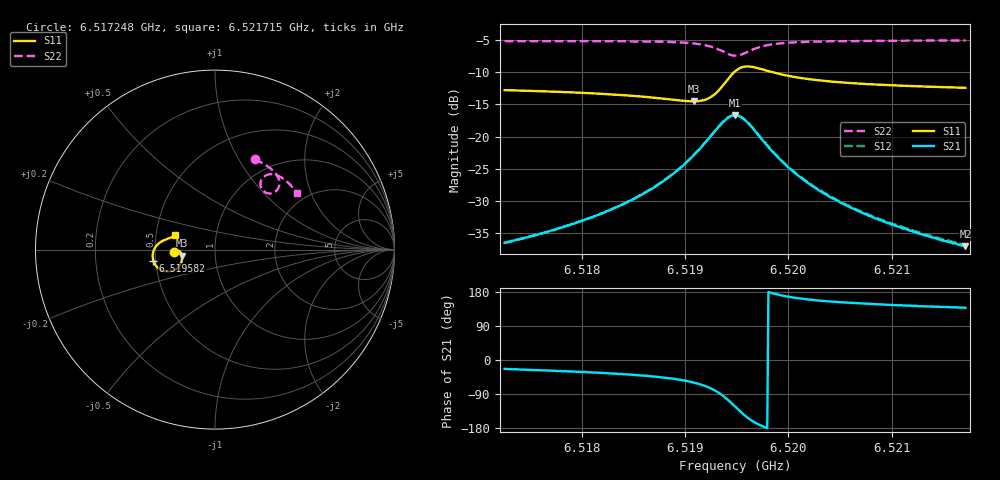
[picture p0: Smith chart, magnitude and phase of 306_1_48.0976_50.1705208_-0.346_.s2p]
#  HZ  S  RI  R  50.00
! Rohde & Schwarz Vector Network Analyzer
! Rohde-Schwarz,ZNB20-2Port,1311601062101988,3.16
! Created: UTC 12/23/2023, 4:05:16 AM
! freq[Hz]  re:S11  im:S11  re:S21  im:S21  re:S12  im:S12  re:S22  im:S22
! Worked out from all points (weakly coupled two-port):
!   401 points, 6.517248 GHz to 6.521715 GHz, reference 50 ohm
!   highest |S21| = -16.71 dB at 6.519481 GHz (marker M1); lowest = -37.0 dB at 6.521715 GHz (marker M2)
!   lowest |S11| = -14.5 dB at 6.519079 GHz (marker M3), VSWR 1.46, Z = 34.4 - j2.47 ohm
!   |S11| at or under -10 dB: start of sweep to 6.519475 GHz; 6.519841 GHz to end of sweep
!   |S22| runs from -7.5 to -5.1 dB; largest |S21 - S12| = 0.0045
!   S11 on the Smith chart (normalised r, x): 6.517248 GHz: 0.63, -0.02; 6.519582 GHz: 0.49, -0.07; 6.521715 GHz: 0.63, +0.11
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6.5172475e9  -0.2288 -0.0116  0.0138 -0.00598  0.014 -0.00558  0.2209 0.5023
6.5176273e9  -0.2241 -0.00634  0.0159 -0.00818  0.0161 -0.00777  0.2488 0.4894
6.5179959e9  -0.2183 -0.00252  0.019 -0.0117  0.0193 -0.0111  0.276 0.4745
6.5184092e9  -0.2093 -0.00162  0.0239 -0.0185  0.0247 -0.0179  0.3071 0.4536
6.5187443e9  -0.1982 -0.00736  0.0302 -0.0302  0.0314 -0.0295  0.3331 0.4298
6.5189118e9  -0.1912 -0.0162  0.0339 -0.0415  0.0355 -0.0407  0.3461 0.4128
6.5190794e9  -0.1843 -0.0347  0.0363 -0.0614  0.0384 -0.0607  0.3571 0.3881
6.5191911e9  -0.1843 -0.0575  0.0325 -0.083  0.0353 -0.0827  0.3592 0.3639
6.5192693e9  -0.1921 -0.0803  0.0221 -0.1038  0.0253 -0.1037  0.3531 0.343
6.5193921e9  -0.2377 -0.1183  -0.0244 -0.1332  -0.0207 -0.1351  0.3169 0.314
6.5194368e9  -0.2673 -0.1222  -0.0515 -0.1335  -0.0481 -0.1361  0.2952 0.3136
6.5194815e9  -0.2991 -0.114  -0.0789 -0.1229  -0.076 -0.1262  0.2741 0.3228
6.5195262e9  -0.3254 -0.0941  -0.1 -0.1027  -0.0979 -0.1062  0.2592 0.3403
6.519582e9  -0.3438 -0.0608  -0.1126 -0.0715  -0.1115 -0.0752  0.2532 0.3666
6.5196937e9  -0.3407 -0.00324  -0.1037 -0.0225  -0.1039 -0.0256  0.271 0.4042
6.5198054e9  -0.3208 0.0277  -0.0831 0.000703  -0.0838 -0.00169  0.2971 0.4183
6.5199953e9  -0.2921 0.0487  -0.0565 0.013  -0.0575 0.0114  0.3319 0.4182
6.5202299e9  -0.2706 0.0579  -0.0385 0.0151  -0.0395 0.0141  0.3607 0.4072
6.5205873e9  -0.2523 0.0645  -0.025 0.0139  -0.0258 0.0133  0.3914 0.3866
6.5209782e9  -0.2402 0.07  -0.0176 0.0121  -0.0181 0.0117  0.4172 0.363
6.5213357e9  -0.2323 0.0749  -0.0133 0.0106  -0.0139 0.0104  0.4373 0.3413
6.5217155e9  -0.2252 0.08  -0.0105 0.00948  -0.0109 0.00945  0.4564 0.3174
